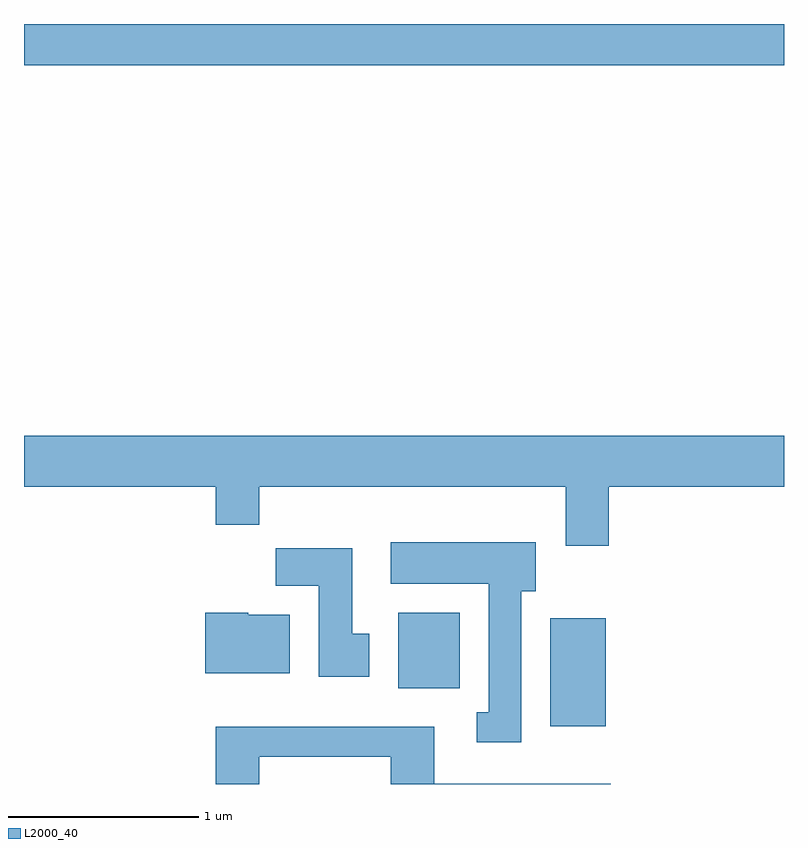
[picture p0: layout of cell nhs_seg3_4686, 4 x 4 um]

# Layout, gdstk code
import gdstk
lib = gdstk.Library(unit=1e-6, precision=1e-09)
def R(c, l, rs):  # rectangles x0, y0, x1, y1
    for r in rs: c.add(gdstk.rectangle(r[:2], r[2:], *l))
def P(c, l, *ps):  # polygons
    for p in ps: c.add(gdstk.Polygon(p, *l))
L2000_40 = (2000, 40)

nhs_seg3_4686 = lib.new_cell('nhs_seg3_4686')
R(nhs_seg3_4686, L2000_40, [(324.381,1240.196,324.674,1240.764), (323.581,1240.396,323.904,1240.794), (321.611,1243.676,325.611,1243.892)])
P(nhs_seg3_4686, L2000_40, [(324.689,1241.456),(325.611,1241.456),(325.611,1241.724),(321.611,1241.724),(321.611,1241.456),(322.621,1241.456),(322.621,1241.256),(322.849,1241.256),(322.849,1241.456),(324.461,1241.456),(324.461,1241.146),(324.689,1241.146)],
  [(324.229,1240.906),(324.304,1240.906),(324.304,1241.164),(323.541,1241.164),(323.541,1240.946),(324.056,1240.946),(324.056,1240.269),(323.993,1240.269),(323.993,1240.111),(324.229,1240.111)],
  [(323.429,1240.684),(323.339,1240.684),(323.339,1241.134),(322.936,1241.134),(322.936,1240.936),(323.161,1240.936),(323.161,1240.456),(323.429,1240.456)],
  [(323.009,1240.784),(322.79,1240.784),(322.79,1240.794),(322.566,1240.794),(322.566,1240.476),(323.009,1240.476)],
  [(322.849,1240.036),(323.541,1240.036),(323.541,1239.892),(324.698,1239.892),(324.698,1239.894),(323.769,1239.894),(323.769,1240.194),(322.621,1240.194),(322.621,1239.892),(322.849,1239.892)])

lib.write_gds('nhs_seg3_4686.gds')
